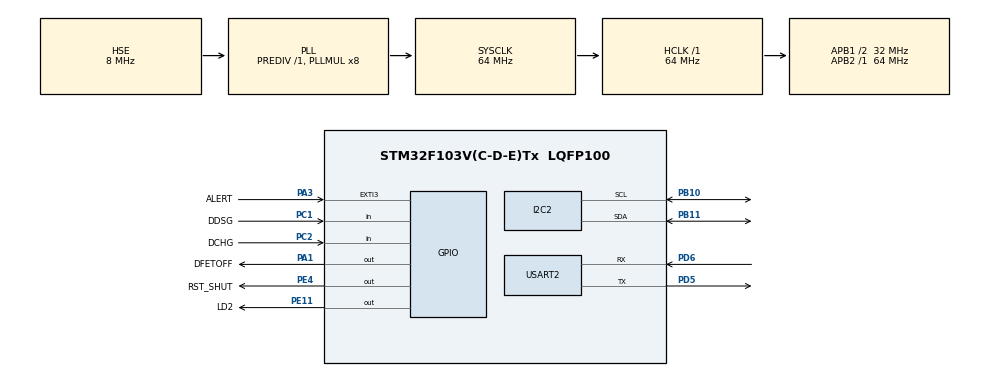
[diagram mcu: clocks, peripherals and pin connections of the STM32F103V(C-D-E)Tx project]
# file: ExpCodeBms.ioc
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I2C2.I2C_Mode=I2C_Standard
Mcu.Family=STM32F1
Mcu.Name=STM32F103V(C-D-E)Tx
Mcu.Package=LQFP100
NVIC.PriorityGroup=NVIC_PRIORITYGROUP_4
OSC_IN.Mode=HSE-External-Oscillator
OSC_IN.Signal=RCC_OSC_IN
OSC_OUT.Mode=HSE-External-Oscillator
OSC_OUT.Signal=RCC_OSC_OUT
PA1.GPIO_Label=DFETOFF
PA1.Signal=GPIO_Output
PA13.Mode=Serial_Wire
PA13.Signal=SYS_JTMS-SWDIO
PA14.Mode=Serial_Wire
PA14.Signal=SYS_JTCK-SWCLK
PA3.GPIO_Label=ALERT
PA3.Signal=GPXTI3
PB10.Mode=I2C
PB10.Signal=I2C2_SCL
PB11.Mode=I2C
PB11.Signal=I2C2_SDA
PC1.GPIO_Label=DDSG
PC1.Signal=GPIO_Input
PC2.GPIO_Label=DCHG
PC2.Signal=GPIO_Input
PD5.Mode=Asynchronous
PD5.Signal=USART2_TX
PD6.Mode=Asynchronous
PD6.Signal=USART2_RX
PE11.GPIO_Label=LD2
PE11.Signal=GPIO_Output
PE4.GPIO_Label=RST_SHUT
PE4.Signal=GPIO_Output
ProjectManager.HeapSize=0x200
ProjectManager.StackSize=0x400
ProjectManager.TargetToolchain=MDK-ARM V5.32
RCC.AHBFreq_Value=64000000
RCC.APB1CLKDivider=RCC_HCLK_DIV2
RCC.APB1Freq_Value=32000000
RCC.APB1TimFreq_Value=64000000
RCC.APB2Freq_Value=64000000
RCC.APB2TimFreq_Value=64000000
RCC.HCLKFreq_Value=64000000
RCC.PLLMUL=RCC_PLL_MUL8
RCC.PLLSourceVirtual=RCC_PLLSOURCE_HSE
RCC.SYSCLKFreq_VALUE=64000000
RCC.SYSCLKSource=RCC_SYSCLKSOURCE_PLLCLK
RCC.USBFreq_Value=64000000
TIM1.Prescaler=63
USART2.VirtualMode=VM_ASYNC
VP_TIM1_VS_ClockSourceINT.Mode=Internal
board=custom

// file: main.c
/* USER CODE BEGIN Header */
/**
  ******************************************************************************
  * @file           : main.c
  * @brief          : Main program body
  ******************************************************************************
  * @attention
  *
  * Copyright (c) 2025 STMicroelectronics.
  * All rights reserved.
  *
  * This software is licensed under terms that can be found in the LICENSE file
  * in the root directory of this software component.
  * If no LICENSE file comes with this software, it is provided AS-IS.
  *
  ******************************************************************************
  */
/* USER CODE END Header */
#include "main.h"

/* USER CODE BEGIN Includes */
#include <stdio.h>
#include "BQ769x2Header.h"
/* USER CODE END Includes */

/* USER CODE BEGIN PD */
#define DEV_ADDR        0x10  // BQ769x2 address is 0x10 including R/W bit or 0x8 as 7-bit address
#define CRC_Mode        1     // 0: disabled, 1: enabled (default use CRC)
#define MAX_BUFFER_SIZE 64

#define R   0 								// Read; Used in DirectCommands and Subcommands functions
#define W   1 								// Write; Used in DirectCommands and Subcommands functions
#define W2  2 								// Write data with two bytes; Used in Subcommands function

HAL_StatusTypeDef res;
/* USER CODE END PD */

I2C_HandleTypeDef hi2c2;

TIM_HandleTypeDef htim1;

UART_HandleTypeDef huart2;

/* USER CODE BEGIN PV */
uint8_t RX_data [2] 			= {0x00, 0x00}; // used in several functions to store data read from BQ769x2
uint8_t RX_2Byte [2] 			= {0x00, 0x00};
uint8_t RX_32Byte [32] 		= {0x00, 0x00, 0x00, 0x00, 0x00, 0x00, 0x00, 0x00, 0x00, 0x00, 0x00, 0x00, 0x00, 0x00, 0x00, 0x00, 0x00, 0x00, 0x00, 0x00, 0x00, 0x00, 0x00, 0x00, 0x00, 0x00, 0x00, 0x00, 0x00, 0x00, 0x00, 0x00}; //used in Subcommands read function
// Global Variables for cell voltages, temperatures, Stack voltage, PACK Pin voltage, LD Pin voltage, CC2 current
uint16_t CellVoltage [16] = {0x00, 0x00, 0x00, 0x00, 0x00, 0x00, 0x00, 0x00, 0x00, 0x00, 0x00, 0x00, 0x00, 0x00, 0x00, 0x00};
float Temperature [7] 		= {0, 0, 0, 0, 0, 0, 0};
float FET_Temperature 		= 0;
uint16_t CellVoltage[16];
float CellVoltage_V[16];
uint16_t Stack_mVoltage 	= 0x00;
float Stack_Voltage;
uint16_t Pack_Voltage 		= 0x00;
uint16_t LD_Voltage 			= 0x00;
int16_t Pack_Current 		  = 0x00;
float I_pack							= 0;
float sum_voltage 				= 0;
int index_check 					= 0;
uint16_t Fetstatus				= 0;
uint16_t current 					= 0x00;

uint16_t AlarmBits 				= 0x00;
uint16_t value_SafetyAlertA;  			// Safety Status Register A
uint16_t value_SafetyAlertB;  			// Safety Status Register B
uint16_t value_SafetyAlertC;  			// Safety Status Register C
uint16_t value_SafetyStatusA;  		  // Safety Status Register A
uint16_t value_SafetyStatusB;  		  // Safety Status Register B
uint16_t value_SafetyStatusC;  		  // Safety Status Register C
uint16_t value_PFStatusA;   				// Permanent Fail Status Register A
uint16_t value_PFStatusB;   				// Permanent Fail Status Register B
uint16_t value_PFStatusC;   				// Permanent Fail Status Register C
uint16_t FET_Status;  							// FET Status register contents  - Shows states of FETs
uint8_t value_FETOptions; 					// PreDischarge status
uint16_t CB_ActiveCells;  					// Cell Balancing Active Cells

uint16_t control_status     = 0;  	// 0x00 Control Status
uint16_t battery_status     = 0;  	// 0x12 Battery Status
uint16_t alarm_status_reg   = 0;  	// 0x62 Alarm Status (latched)
uint16_t alarm_raw_status   = 0;  	// 0x64 Alarm Raw Status (unlatched)
uint16_t alarm_enable_mask  = 0;  	// 0x66 Alarm Enable mask
uint16_t manufacturing_status = 0;

uint64_t OTP;
uint16_t OTP_Status;
uint8_t CFGUPDATE 	  = 0;
uint8_t PCHG_MODE 	  = 0;
uint8_t SLEEP_EN 		  = 0;
uint8_t POR 				  = 0;
uint8_t WD 				 	  = 0;
uint8_t COW_CHK 	    = 0;
uint8_t OTPW 				  = 0;
uint8_t OTPB 			 	  = 0;
uint8_t SEC0 				  = 0;
uint8_t SEC1 			 	  = 0;
uint8_t FUSE 				  = 0;
uint8_t SS 					  = 0;
uint8_t PF 					  = 0;
uint8_t SDM 				  = 0;
uint8_t SLEEP 			  = 0;   					// OTP write pending state

uint8_t	UV_Fault 		  = 0;   					// under-voltage fault state
uint8_t	OV_Fault 		  = 0;   					// over-voltage fault state
uint8_t	SCD_Fault	 	  = 0;  					// short-circuit fault state
uint8_t	OCD_Fault 	  = 0;  					// over-current fault state
uint8_t	OCD_Fault1 	  = 0;
uint8_t	OCC_Fault 	  = 0;

uint8_t	OTF_Fault 	  = 0;   					// under-voltage fault state
uint8_t	OTINT_Fault   = 0;   					// over-voltage fault state
uint8_t	OTD_Fault 	  = 0;  					// short-circuit fault state
uint8_t	OTC_Fault 	  = 0;  					// over-current fault state
uint8_t	UTINT_Fault   = 0;
uint8_t	UTD_Fault 	  = 0;
uint8_t	UTC_Fault 	  = 0;

uint8_t ProtectionsTriggered = 0; 		// Set to 1 if any protection triggers

uint8_t LD_ON 			  = 0;						// Load Detect status bit
uint8_t DSG 			 	  = 0;   					// discharge FET state
uint8_t CHG 				  = 0;   					// charge FET state
uint8_t PCHG 				  = 0;  					// pre-charge FET state
uint8_t PDSG 				  = 0;  					// pre-discharge FET state
uint8_t DCHG_pin 		  = 0;
uint8_t DDSG_pin 		  = 0;
uint8_t ALRT_pin 		  = 0;
uint8_t RSVD_pin 		  = 0;

uint8_t RSVD_00 			= 0;
uint8_t RSVD_01 			= 0;
uint8_t FET_INIT_OFF 	= 0;
uint8_t PDSG_EN 			= 0;
uint8_t FET_CTRL_EN 	= 0;
uint8_t HOST_FET_EN 	= 0;
uint8_t SLEEPCHG 			= 0;
uint8_t SFET 					= 0;

uint32_t CC1; 												// in BQ769x2_READPASSQ func
uint32_t CC2;													// in BQ769x2_READPASSQ func
uint32_t CC3;													// in BQ769x2_READPASSQ func
uint32_t AccumulatedCharge_Int; 			// in BQ769x2_READPASSQ func
uint32_t AccumulatedCharge_Frac;			// in BQ769x2_READPASSQ func
uint32_t AccumulatedCharge_Time;			// in BQ769x2_READPASSQ func
/* USER CODE END PV */

void SystemClock_Config(void);
static void MX_GPIO_Init(void);
static void MX_I2C2_Init(void);
static void MX_USART2_UART_Init(void);
static void MX_TIM1_Init(void);
/* USER CODE BEGIN PFP */

void delayUS(uint32_t us) {   										// Sets the delay in microseconds.
	__HAL_TIM_SET_COUNTER(&htim1,0);  							// set the counter value a 0
	while (__HAL_TIM_GET_COUNTER(&htim1) < us);  		// wait for the counter to reach the us input in the parameter
}

void CopyArray(uint8_t *source, uint8_t *dest, uint8_t count)
{
    uint8_t copyIndex = 0;
    for (copyIndex = 0; copyIndex < count; copyIndex++)
    {
        dest[copyIndex] = source[copyIndex];
    }
}

unsigned char Checksum(unsigned char *ptr, unsigned char len)
// Calculates the checksum when writing to a RAM register. The checksum is the inverse of the sum of the bytes.
{
	unsigned char i;
	unsigned char checksum = 0;

	for(i=0; i<len; i++)
		checksum += ptr[i];

	checksum = 0xff & ~checksum;

	return(checksum);
}

unsigned char CRC8(unsigned char *ptr, unsigned char len)
//Calculates CRC8 for passed bytes. Used in i2c read and write functions
{
	unsigned char i;
	unsigned char crc=0;
	while(len--!=0)
	{
		for(i=0x80; i!=0; i/=2)
		{
			if((crc & 0x80) != 0)
			{
				crc *= 2;
				crc ^= 0x107;
			}
			else
				crc *= 2;

			if((*ptr & i)!=0)
				crc ^= 0x107;
		}
		ptr++;
	}
	return(crc);
}

void I2C_WriteReg(uint8_t reg_addr, uint8_t *reg_data, uint8_t count)
{
	uint8_t TX_Buffer [MAX_BUFFER_SIZE] = {0x00, 0x00, 0x00, 0x00, 0x00, 0x00, 0x00, 0x00, 0x00, 0x00, 0x00, 0x00, 0x00, 0x00, 0x00, 0x00, 0x00, 0x00, 0x00, 0x00, 0x00, 0x00, 0x00, 0x00, 0x00, 0x00, 0x00, 0x00, 0x00, 0x00,0x00, 0x00, 0x00, 0x00, 0x00, 0x00, 0x00, 0x00, 0x00, 0x00, 0x00, 0x00, 0x00, 0x00, 0x00, 0x00, 0x00, 0x00, 0x00, 0x00,0x00, 0x00, 0x00, 0x00, 0x00, 0x00, 0x00, 0x00, 0x00, 0x00};
#if CRC_Mode
	{
		uint8_t crc_count = 0;
		crc_count = count * 2;
		uint8_t crc1stByteBuffer [3] = {0x10, reg_addr, reg_data[0]};
		unsigned int j;
		unsigned int i;
		uint8_t temp_crc_buffer [3];

		TX_Buffer[0] = reg_data[0];
		TX_Buffer[1] = CRC8(crc1stByteBuffer,3);

		j = 2;
		for(i=1; i<count; i++)
		{
			TX_Buffer[j] = reg_data[i];
			j = j + 1;
			temp_crc_buffer[0] = reg_data[i];
			TX_Buffer[j] = CRC8(temp_crc_buffer,1);
			j = j + 1;
		}
		HAL_I2C_Mem_Write(&hi2c2, DEV_ADDR, reg_addr, 1, TX_Buffer, crc_count, 1000);
	}
#else
	HAL_I2C_Mem_Write(&hi2c2, DEV_ADDR, reg_addr, 1, reg_data, count, 1000);
#endif
}

int I2C_ReadReg(uint8_t reg_addr, uint8_t *reg_data, uint8_t count)
{
	unsigned int RX_CRC_Fail = 0;  // reset to 0. If in CRC Mode and CRC fails, this will be incremented.
	uint8_t RX_Buffer [MAX_BUFFER_SIZE] = {0x00, 0x00, 0x00, 0x00, 0x00, 0x00, 0x00, 0x00, 0x00, 0x00, 0x00, 0x00, 0x00, 0x00, 0x00, 0x00, 0x00, 0x00, 0x00, 0x00, 0x00, 0x00, 0x00, 0x00, 0x00, 0x00, 0x00, 0x00, 0x00, 0x00, 0x00, 0x00, 0x00, 0x00, 0x00, 0x00, 0x00, 0x00, 0x00, 0x00, 0x00, 0x00, 0x00, 0x00, 0x00, 0x00, 0x00, 0x00, 0x00, 0x00, 0x00, 0x00, 0x00, 0x00, 0x00, 0x00, 0x00, 0x00, 0x00, 0x00};
#if CRC_Mode
	{
		uint8_t crc_count = 0;
		uint8_t ReceiveBuffer [10] = {0x00, 0x00, 0x00, 0x00, 0x00, 0x00, 0x00, 0x00, 0x00, 0x00};
		crc_count = count * 2;
		unsigned int j;
		unsigned int i;
		unsigned char CRCc = 0;
		uint8_t temp_crc_buffer [3];

		HAL_I2C_Mem_Read(&hi2c2, DEV_ADDR, reg_addr, 1, ReceiveBuffer, crc_count, 1000);
		uint8_t crc1stByteBuffer [4] = {0x10, reg_addr, 0x11, ReceiveBuffer[0]};
		CRCc = CRC8(crc1stByteBuffer,4);
		if (CRCc != ReceiveBuffer[1])
		{
			RX_CRC_Fail += 1;
		}
		RX_Buffer[0] = ReceiveBuffer[0];

		j = 2;
		for (i=1; i<count; i++)
		{
			RX_Buffer[i] = ReceiveBuffer[j];
			temp_crc_buffer[0] = ReceiveBuffer[j];
			j = j + 1;
			CRCc = CRC8(temp_crc_buffer,1);
			if (CRCc != ReceiveBuffer[j])
				RX_CRC_Fail += 1;
			j = j + 1;
		}
		CopyArray(RX_Buffer, reg_data, crc_count);
	}
#else
	HAL_I2C_Mem_Read(&hi2c2, DEV_ADDR, reg_addr, 1, reg_data, count, 1000);
#endif
	return 0;
}

void BQ769x2_SetRegister(uint16_t reg_addr, uint32_t reg_data, uint8_t datalen)
{
	uint8_t TX_Buffer[2] = {0x00, 0x00};
	uint8_t TX_RegData[6] = {0x00, 0x00, 0x00, 0x00, 0x00, 0x00};

	//TX_RegData in little endian format
	TX_RegData[0] = reg_addr & 0xff;
	TX_RegData[1] = (reg_addr >> 8) & 0xff;
	TX_RegData[2] = reg_data & 0xff; //1st byte of data

	switch(datalen)
    {
		case 1: //1 byte datalength
      I2C_WriteReg(0x3E, TX_RegData, 3);
			delayUS(2000);
			TX_Buffer[0] = Checksum(TX_RegData, 3);
			TX_Buffer[1] = 0x05; //combined length of register address and data
      I2C_WriteReg(0x60, TX_Buffer, 2); // Write the checksum and length
			delayUS(2000);
			break;
		case 2: //2 byte datalength
			TX_RegData[3] = (reg_data >> 8) & 0xff;
			I2C_WriteReg(0x3E, TX_RegData, 4);
			delayUS(2000);
			TX_Buffer[0] = Checksum(TX_RegData, 4);
			TX_Buffer[1] = 0x06; //combined length of register address and data
      I2C_WriteReg(0x60, TX_Buffer, 2); // Write the checksum and length
			delayUS(2000);
			break;
		case 4: //4 byte datalength, Only used for CCGain and Capacity Gain
			TX_RegData[3] = (reg_data >> 8) & 0xff;
			TX_RegData[4] = (reg_data >> 16) & 0xff;
			TX_RegData[5] = (reg_data >> 24) & 0xff;
			I2C_WriteReg(0x3E, TX_RegData, 6);
			delayUS(2000);
			TX_Buffer[0] = Checksum(TX_RegData, 6);
			TX_Buffer[1] = 0x08; //combined length of register address and data
      I2C_WriteReg(0x60, TX_Buffer, 2); // Write the checksum and length
			delayUS(2000);
			break;
    }
}

static uint8_t DM_Read8(uint16_t addr) {
  uint8_t tx[2] = { addr & 0xFF, (uint8_t)(addr >> 8) };
  I2C_WriteReg(0x3E, tx, 2);
  delayUS(2000);
  uint8_t v = 0;
  I2C_ReadReg(0x40, &v, 1);   // read 1 byte from Data Memory
  return v;
}

void CommandSubcommands(uint16_t command) //For Command only Subcommands
// See the TRM or the BQ76952 header file for a full list of Command-only subcommands
{	//For DEEPSLEEP/SHUTDOWN subcommand you will need to call this function twice consecutively

	uint8_t TX_Reg[2] = {0x00, 0x00};

	//TX_Reg in little endian format
	TX_Reg[0] = command & 0xff;
	TX_Reg[1] = (command >> 8) & 0xff;

	I2C_WriteReg(0x3E,TX_Reg,2);
	delayUS(2000);
}

void Subcommands(uint16_t command, uint16_t data, uint8_t type)
// See the TRM or the BQ76952 header file for a full list of Subcommands
{
	//security keys and Manu_data writes dont work with this function (reading these commands works)
	//max readback size is 32 bytes i.e. DASTATUS, CUV/COV snapshot
	uint8_t TX_Reg[4] = {0x00, 0x00, 0x00, 0x00};
	uint8_t TX_Buffer[2] = {0x00, 0x00};

	//TX_Reg in little endian format
	TX_Reg[0] = command & 0xff;
	TX_Reg[1] = (command >> 8) & 0xff;

	if (type == R) {//read
		I2C_WriteReg(0x3E,TX_Reg,2);
		delayUS(2000);
		I2C_ReadReg(0x40, RX_32Byte, 32); //RX_32Byte is a global variable
	}
	else if (type == W) {
		//FET_Control, REG12_Control
		TX_Reg[2] = data & 0xff;
		I2C_WriteReg(0x3E,TX_Reg,3);
		delayUS(1000);
		TX_Buffer[0] = Checksum(TX_Reg, 3);
		TX_Buffer[1] = 0x05; //combined length of registers address and data
		I2C_WriteReg(0x60, TX_Buffer, 2);
		delayUS(1000);
	}
	else if (type == W2){ //write data with 2 bytes
		//CB_Active_Cells, CB_SET_LVL
		TX_Reg[2] = data & 0xff;
		TX_Reg[3] = (data >> 8) & 0xff;
		I2C_WriteReg(0x3E,TX_Reg,4);
		delayUS(1000);
		TX_Buffer[0] = Checksum(TX_Reg, 4);
		TX_Buffer[1] = 0x06; //combined length of registers address and data
		I2C_WriteReg(0x60, TX_Buffer, 2);
		delayUS(1000);
	}
}

void DirectCommands(uint8_t command, uint16_t data, uint8_t type)
// See the TRM or the BQ76952 header file for a full list of Direct Commands
{	//type: R = read, W = write
	uint8_t TX_data[2] = {0x00, 0x00};

	//little endian format
	TX_data[0] = data & 0xff;
	TX_data[1] = (data >> 8) & 0xff;

	if (type == R) {//Read
		I2C_ReadReg(command, RX_data, 2); //RX_data is a global variable
		delayUS(2000);
	}
	if (type == W) {//write
    //Control_status, alarm_status, alarm_enable all 2 bytes long
		I2C_WriteReg(command,TX_data,2);
		delayUS(2000);
	}
}

void BQ769x2_Init() {
	CommandSubcommands(SET_CFGUPDATE);

	// Calibration
	BQ769x2_SetRegister(Cell1Gain, 12120, 2);
	BQ769x2_SetRegister(Cell2Gain, 12120, 2);
	BQ769x2_SetRegister(Cell3Gain, 12120, 2);
	BQ769x2_SetRegister(Cell4Gain, 12120, 2);
	BQ769x2_SetRegister(Cell5Gain, 12119, 2);
	BQ769x2_SetRegister(Cell6Gain, 12119, 2);
	BQ769x2_SetRegister(Cell7Gain, 12119, 2);
	BQ769x2_SetRegister(Cell8Gain, 12119, 2);
	BQ769x2_SetRegister(Cell9Gain, 12122, 2);
	BQ769x2_SetRegister(Cell10Gain, 12122, 2);
	BQ769x2_SetRegister(Cell11Gain, 12122, 2);
	BQ769x2_SetRegister(Cell12Gain, 12122, 2);
	BQ769x2_SetRegister(Cell13Gain, 12121, 2);
	BQ769x2_SetRegister(Cell14Gain, 12121, 2);
	BQ769x2_SetRegister(Cell15Gain, 12121, 2);
	BQ769x2_SetRegister(Cell16Gain, 12121, 2);

	BQ769x2_SetRegister(PackGain, 34067, 2);
	BQ769x2_SetRegister(TOSGain, 33961, 2);
	BQ769x2_SetRegister(LDGain, 34268, 2);
	BQ769x2_SetRegister(ADCGain, 4039, 2);
	BQ769x2_SetRegister(CCGain, 1.000, 4);
	BQ769x2_SetRegister(CapacityGain, 1.000, 4);
	BQ769x2_SetRegister(VcellOffset, 0, 2);
	BQ769x2_SetRegister(VdivOffset, 0, 2);
	BQ769x2_SetRegister(CoulombCounterOffsetSamples, 64, 2);
	BQ769x2_SetRegister(BoardOffset, 0, 2);

	BQ769x2_SetRegister(InternalTempOffset, 0.0, 1);
	BQ769x2_SetRegister(CFETOFFTempOffset, 0.0, 1);
	BQ769x2_SetRegister(DFETOFFTempOffset, 0.0, 1);
	BQ769x2_SetRegister(ALERTTempOffset, 0.0, 1);
	BQ769x2_SetRegister(TS1TempOffset, 0.0, 1);
	BQ769x2_SetRegister(TS2TempOffset, 0.0, 1);
	BQ769x2_SetRegister(TS3TempOffset, 0.0, 1);
	BQ769x2_SetRegister(HDQTempOffset, 0.0, 1);
	BQ769x2_SetRegister(DCHGTempOffset, 0.0, 1);
	BQ769x2_SetRegister(DDSGTempOffset, 0.0, 1);
	BQ769x2_SetRegister(IntGain, 25390, 2);
	BQ769x2_SetRegister(Intbaseoffset, 3032, 2);
	BQ769x2_SetRegister(IntMaximumAD, 16383, 2);
	BQ769x2_SetRegister(IntMaximumTemp, 6379, 2);

	BQ769x2_SetRegister(T18kCoeffa1, (uint16_t)-15524, 2);
	BQ769x2_SetRegister(T18kCoeffa2, 26423, 2);
	BQ769x2_SetRegister(T18kCoeffa3, (uint16_t)-22664, 2);
	BQ769x2_SetRegister(T18kCoeffa4, 28834, 2);
	BQ769x2_SetRegister(T18kCoeffa5, 672, 2);
	BQ769x2_SetRegister(T18kCoeffb1, (uint16_t)-371, 2);
	BQ769x2_SetRegister(T18kCoeffb2, 708, 2);
	BQ769x2_SetRegister(T18kCoeffb3, (uint16_t)-3498, 2);
	BQ769x2_SetRegister(T18kCoeffb4, 5051, 2);
	BQ769x2_SetRegister(T18kAdc0, 11703, 2);

	BQ769x2_SetRegister(T180kCoeffa1, (uint16_t)-17513, 2);
	BQ769x2_SetRegister(T180kCoeffa2, 25759, 2);
	BQ769x2_SetRegister(T180kCoeffa3, (uint16_t)-23593, 2);
	BQ769x2_SetRegister(T180kCoeffa4, 32175, 2);
	BQ769x2_SetRegister(T180kCoeffa5, 2090, 2);
	BQ769x2_SetRegister(T180kCoeffb1, (uint16_t)-2055, 2);
	BQ769x2_SetRegister(T180kCoeffb2, 2955, 2);
	BQ769x2_SetRegister(T180kCoeffb3, (uint16_t)-3427, 2);
	BQ769x2_SetRegister(T180kCoeffb4, 4385, 2);
	BQ769x2_SetRegister(T180kAdc0, 17246, 2);

	BQ769x2_SetRegister(CustomCoeffa1, 0x00, 2);
	BQ769x2_SetRegister(CustomCoeffa2, 0x00, 2);
	BQ769x2_SetRegister(CustomCoeffa3, 0x00, 2);
	BQ769x2_SetRegister(CustomCoeffa4, 0x00, 2);
	BQ769x2_SetRegister(CustomCoeffa5, 0x00, 2);
	BQ769x2_SetRegister(CustomCoeffb1, 0x00, 2);
	BQ769x2_SetRegister(CustomCoeffb2, 0x00, 2);
	BQ769x2_SetRegister(CustomCoeffb3, 0x00, 2);
	BQ769x2_SetRegister(CustomCoeffb4, 0x00, 2);
	BQ769x2_SetRegister(CustomRc0, 0x00, 2);
	BQ769x2_SetRegister(CustomAdc0, 0x00, 2);

	BQ769x2_SetRegister(CoulombCounterDeadband, 9, 1);
	BQ769x2_SetRegister(CUVThresholdOverride, 0xFFFF, 2);
	BQ769x2_SetRegister(COVThresholdOverride, 0xFFFF, 2);
	BQ769x2_SetRegister(MinBlowFuseVoltage, 500, 2);
	BQ769x2_SetRegister(FuseBlowTimeout, 30, 1);

	BQ769x2_SetRegister(PowerConfig, 0x2C82, 2);
	BQ769x2_SetRegister(REG12Config, 0x0D, 1);
	BQ769x2_SetRegister(REG0Config, 0x01, 1);
	BQ769x2_SetRegister(HWDRegulatorOptions, 0x00, 1);
	BQ769x2_SetRegister(CommType, 0, 1);
	BQ769x2_SetRegister(I2CAddress, 0, 1);
	BQ769x2_SetRegister(SPIConfiguration, 0x20, 1);
	BQ769x2_SetRegister(CommIdleTime, 0, 1);
	BQ769x2_SetRegister(CFETOFFPinConfig, 0xAF, 1);
	BQ769x2_SetRegister(DFETOFFPinConfig, 0xEE, 1);
	BQ769x2_SetRegister(ALERTPinConfig, 0x3A, 1);
	BQ769x2_SetRegister(TS1Config, 0x07, 1);
	BQ769x2_SetRegister(TS2Config, 0x0F, 1);
	BQ769x2_SetRegister(TS3Config, 0x0F, 1);
	BQ769x2_SetRegister(HDQPinConfig, 0x2B, 1);
	BQ769x2_SetRegister(DCHGPinConfig, 0x2A, 1);
	BQ769x2_SetRegister(DDSGPinConfig, 0x2A, 1);
	BQ769x2_SetRegister(DAConfiguration, 0x05, 1);
	BQ769x2_SetRegister(VCellMode, 0x0000, 2);
	BQ769x2_SetRegister(CC3Samples, 80, 1);
	BQ769x2_SetRegister(ProtectionConfiguration, 0x0000, 2); //0x0002
	BQ769x2_SetRegister(EnabledProtectionsA, 0x00, 1);			 //0xFC
	BQ769x2_SetRegister(EnabledProtectionsB, 0x00, 1);
	BQ769x2_SetRegister(EnabledProtectionsC, 0x00, 1);
	BQ769x2_SetRegister(CHGFETProtectionsA, 0x98, 1);
	BQ769x2_SetRegister(CHGFETProtectionsB, 0xD5, 1);
	BQ769x2_SetRegister(CHGFETProtectionsC, 0x56, 1);
	BQ769x2_SetRegister(DSGFETProtectionsA, 0xE4, 1);
	BQ769x2_SetRegister(DSGFETProtectionsB, 0xE6, 1);
	BQ769x2_SetRegister(DSGFETProtectionsC, 0xE2, 1);
	BQ769x2_SetRegister(BodyDiodeThreshold, 50, 2);

	BQ769x2_SetRegister(DefaultAlarmMask, 0xF882, 2);
	BQ769x2_SetRegister(SFAlertMaskA, 0xFC, 1);
	BQ769x2_SetRegister(SFAlertMaskB, 0xF7, 1);
	BQ769x2_SetRegister(SFAlertMaskC, 0xF4, 1);
	BQ769x2_SetRegister(PFAlertMaskA, 0x5F, 1);
	BQ769x2_SetRegister(PFAlertMaskB, 0x9F, 1);
	BQ769x2_SetRegister(PFAlertMaskC, 0x00, 1);
	BQ769x2_SetRegister(PFAlertMaskD, 0x00, 1);
	BQ769x2_SetRegister(EnabledPFA, 0x03, 1);
	BQ769x2_SetRegister(EnabledPFB, 0x00, 1);
	BQ769x2_SetRegister(EnabledPFC, 0x07, 1);
	BQ769x2_SetRegister(EnabledPFD, 0x00, 1);

	BQ769x2_SetRegister(FETOptions, 0x0F, 1);
	BQ769x2_SetRegister(ChgPumpControl, 0x01, 1);
	BQ769x2_SetRegister(PrechargeStartVoltage, 0, 2);
	BQ769x2_SetRegister(PrechargeStopVoltage, 0, 2);
	BQ769x2_SetRegister(PredischargeTimeout, 5, 1);
	BQ769x2_SetRegister(PredischargeStopDelta, 50, 1);
	BQ769x2_SetRegister(DsgCurrentThreshold, 100, 2);
	BQ769x2_SetRegister(ChgCurrentThreshold, 50, 2);
	BQ769x2_SetRegister(CheckTime, 5, 1);

	BQ769x2_SetRegister(Cell1Interconnect, 0, 2);
	BQ769x2_SetRegister(Cell2Interconnect, 0, 2);
	BQ769x2_SetRegister(Cell3Interconnect, 0, 2);
	BQ769x2_SetRegister(Cell4Interconnect, 0, 2);
	BQ769x2_SetRegister(Cell5Interconnect, 0, 2);
	BQ769x2_SetRegister(Cell6Interconnect, 0, 2);
	BQ769x2_SetRegister(Cell7Interconnect, 0, 2);
	BQ769x2_SetRegister(Cell8Interconnect, 0, 2);
	BQ769x2_SetRegister(Cell9Interconnect, 0, 2);
	BQ769x2_SetRegister(Cell10Interconnect, 0, 2);
	BQ769x2_SetRegister(Cell11Interconnect, 0, 2);
	BQ769x2_SetRegister(Cell12Interconnect, 0, 2);
	BQ769x2_SetRegister(Cell13Interconnect, 0, 2);
	BQ769x2_SetRegister(Cell14Interconnect, 0, 2);
	BQ769x2_SetRegister(Cell15Interconnect, 0, 2);
	BQ769x2_SetRegister(Cell16Interconnect, 0, 2);

	BQ769x2_SetRegister(MfgStatusInit, 0x0050, 2);
	BQ769x2_SetRegister(BalancingConfiguration, 0x03, 1);
	BQ769x2_SetRegister(MinCellTemp, (uint8_t)-20, 1);   		// -20°C
	BQ769x2_SetRegister(MaxCellTemp, 60, 1);   		// 60°C
	BQ769x2_SetRegister(MaxInternalTemp, 70, 1); 	// 70°C
	BQ769x2_SetRegister(CellBalanceInterval, 20, 1);
	BQ769x2_SetRegister(CellBalanceMaxCells, 1, 1);
	BQ769x2_SetRegister(CellBalanceMinCellVCharge, 3900, 2);
	BQ769x2_SetRegister(CellBalanceMinDeltaCharge, 40, 1);
	BQ769x2_SetRegister(CellBalanceStopDeltaCharge, 20, 1);
	BQ769x2_SetRegister(CellBalanceMinCellVRelax, 3900, 2);
	BQ769x2_SetRegister(CellBalanceMinDeltaRelax, 40, 1);
	BQ769x2_SetRegister(CellBalanceStopDeltaRelax, 20, 1);

	BQ769x2_SetRegister(ShutdownCellVoltage, 0, 2);
	BQ769x2_SetRegister(ShutdownStackVoltage, 600, 2);
	BQ769x2_SetRegister(LowVShutdownDelay, 1, 1);
	BQ769x2_SetRegister(ShutdownTemperature, 85, 1);
	BQ769x2_SetRegister(ShutdownTemperatureDelay, 5, 1);
	BQ769x2_SetRegister(FETOffDelay, 0, 1);
	BQ769x2_SetRegister(ShutdownCommandDelay, 0, 1);
	BQ769x2_SetRegister(AutoShutdownTime, 0, 1);
	BQ769x2_SetRegister(RAMFailShutdownTime, 5, 1);
	BQ769x2_SetRegister(SleepCurrent, 20, 2);
	BQ769x2_SetRegister(VoltageTime, 5, 1);
	BQ769x2_SetRegister(WakeComparatorCurrent, 500, 2);
	BQ769x2_SetRegister(SleepHysteresisTime, 10, 1);
	BQ769x2_SetRegister(SleepChargerVoltageThreshold, 2000, 2);
	BQ769x2_SetRegister(SleepChargerPACKTOSDelta, 200, 2);
	BQ769x2_SetRegister(ConfigRAMSignature, 0, 2);

	BQ769x2_SetRegister(CUVThreshold, 50, 1);
 	BQ769x2_SetRegister(CUVDelay, 74, 2);
 	BQ769x2_SetRegister(CUVRecoveryHysteresis, 2, 1);

	BQ769x2_SetRegister(COVThreshold, 86, 1);
	BQ769x2_SetRegister(COVDelay, 74, 2);
	BQ769x2_SetRegister(COVRecoveryHysteresis, 2, 1);

	BQ769x2_SetRegister(COVLLatchLimit, 0, 1);
	BQ769x2_SetRegister(COVLCounterDecDelay, 10, 1);
	BQ769x2_SetRegister(COVLRecoveryTime, 15, 1);

	BQ769x2_SetRegister(OCCThreshold, 2, 1);
	BQ769x2_SetRegister(OCCDelay, 4, 1);
	BQ769x2_SetRegister(OCCRecoveryThreshold, (uint16_t)-200, 2);
	BQ769x2_SetRegister(OCCPACKTOSDelta, 200, 2);

	BQ769x2_SetRegister(OCD1Threshold, 4, 1);
	BQ769x2_SetRegister(OCD1Delay, 1, 1);
	BQ769x2_SetRegister(OCD2Threshold, 3, 1);
	BQ769x2_SetRegister(OCD2Delay, 7, 1);

	BQ769x2_SetRegister(SCDThreshold, 0, 1);
	BQ769x2_SetRegister(SCDDelay, 2, 1);
	BQ769x2_SetRegister(SCDRecoveryTime, 5, 1);

	BQ769x2_SetRegister(OCD3Threshold, (uint16_t)-4000, 2);
	BQ769x2_SetRegister(OCD3Delay, 2, 1);
	BQ769x2_SetRegister(OCDRecoveryThreshold, 200, 2);
	BQ769x2_SetRegister(OCDLLatchLimit, 0, 1);
	BQ769x2_SetRegister(OCDLCounterDecDelay, 10, 1);
	BQ769x2_SetRegister(OCDLRecoveryTime, 15, 1);
	BQ769x2_SetRegister(OCDLRecoveryThreshold, 200, 2);

	BQ769x2_SetRegister(SCDLLatchLimit, 0, 1);
	BQ769x2_SetRegister(SCDLCounterDecDelay, 10, 1);
	BQ769x2_SetRegister(SCDLRecoveryTime, 15, 1);
	BQ769x2_SetRegister(SCDLRecoveryThreshold, 200, 2);

	BQ769x2_SetRegister(OTCThreshold, 55, 1);
	BQ769x2_SetRegister(OTCDelay, 2, 1);
	BQ769x2_SetRegister(OTCRecovery, 50, 1);

	BQ769x2_SetRegister(OTDThreshold, 60, 1);
	BQ769x2_SetRegister(OTDDelay, 2, 1);
	BQ769x2_SetRegister(OTDRecovery, 55, 1);

	BQ769x2_SetRegister(OTFThreshold, 80, 1);
	BQ769x2_SetRegister(OTFDelay, 2, 1);
	BQ769x2_SetRegister(OTFRecovery, 65, 1);

	BQ769x2_SetRegister(OTINTThreshold, 85, 1);
	BQ769x2_SetRegister(OTINTDelay, 2, 1);
	BQ769x2_SetRegister(OTINTRecovery, 80, 1);

	BQ769x2_SetRegister(UTCThreshold, 0, 1);
	BQ769x2_SetRegister(UTCDelay, 2, 1);
	BQ769x2_SetRegister(UTCRecovery, 5, 1);

	BQ769x2_SetRegister(UTDThreshold, 0, 1);
	BQ769x2_SetRegister(UTDDelay, 2, 1);
	BQ769x2_SetRegister(UTDRecovery, 5, 1);

	BQ769x2_SetRegister(UTINTThreshold, (uint8_t)-20, 1);
	BQ769x2_SetRegister(UTINTDelay, 2, 1);
	BQ769x2_SetRegister(UTINTRecovery, (uint8_t)-15, 1);

	BQ769x2_SetRegister(ProtectionsRecoveryTime, 3, 1);
	BQ769x2_SetRegister(HWDDelay, 60, 2);

	BQ769x2_SetRegister(LoadDetectActiveTime, 0, 1);
	BQ769x2_SetRegister(LoadDetectRetryDelay, 50, 1);
	BQ769x2_SetRegister(LoadDetectTimeout, 1, 2);

	BQ769x2_SetRegister(PTOChargeThreshold, 250, 2);
	BQ769x2_SetRegister(PTODelay, 1800, 2);
	BQ769x2_SetRegister(PTOReset, 2, 2);

	BQ769x2_SetRegister(CUDEPThreshold, 1500, 2);
	BQ769x2_SetRegister(CUDEPDelay, 2, 1);
	BQ769x2_SetRegister(SUVThreshold, 2200, 2);
	BQ769x2_SetRegister(SUVDelay, 5, 1);
	BQ769x2_SetRegister(SOVThreshold, 4500, 2);
	BQ769x2_SetRegister(SOVDelay, 5, 1);
	BQ769x2_SetRegister(TOSSThreshold, 500, 2);
	BQ769x2_SetRegister(TOSSDelay, 5, 1);
	BQ769x2_SetRegister(SOCCThreshold, 10000, 2);
	BQ769x2_SetRegister(SOCCDelay, 5, 1);
	BQ769x2_SetRegister(SOCDThreshold, (uint16_t)-32000, 2);
	BQ769x2_SetRegister(SOCDDelay, 5, 1);
	BQ769x2_SetRegister(SOTThreshold, 65, 1);
	BQ769x2_SetRegister(SOTDelay, 5, 1);
	BQ769x2_SetRegister(SOTFThreshold, 85, 1);
	BQ769x2_SetRegister(SOTFDelay, 5, 1);
	BQ769x2_SetRegister(VIMRCheckVoltage, 3500, 2);
	BQ769x2_SetRegister(VIMRMaxRelaxCurrent, 10, 2);
	BQ769x2_SetRegister(VIMRThreshold, 500, 2);
	BQ769x2_SetRegister(VIMRDelay, 5, 1);
	BQ769x2_SetRegister(VIMRRelaxMinDuration, 100, 2);
	BQ769x2_SetRegister(VIMACheckVoltage, 3700, 2);
	BQ769x2_SetRegister(VIMAMinActiveCurrent, 50, 2);
	BQ769x2_SetRegister(VIMAThreshold, 200, 2);
	BQ769x2_SetRegister(VIMADelay, 5, 1);
	BQ769x2_SetRegister(CFETFOFFThreshold, 20, 2);
	BQ769x2_SetRegister(CFETFOFFDelay, 5, 1);
	BQ769x2_SetRegister(DFETFOFFThreshold, (uint16_t)-20, 2);
	BQ769x2_SetRegister(DFETFOFFDelay, 5, 1);
	BQ769x2_SetRegister(VSSFFailThreshold, 100, 2);
	BQ769x2_SetRegister(VSSFDelay, 5, 1);
	BQ769x2_SetRegister(PF2LVLDelay, 5, 1);
	BQ769x2_SetRegister(LFOFDelay, 5, 1);
	BQ769x2_SetRegister(HWMXDelay, 5, 1);

	BQ769x2_SetRegister(SecuritySettings, 0x00, 1);
	BQ769x2_SetRegister(UnsealKeyStep1, 0x0414, 2);
	BQ769x2_SetRegister(UnsealKeyStep2, 0x3672, 2);
	BQ769x2_SetRegister(FullAccessKeyStep1, 0xFFFF, 2);
	BQ769x2_SetRegister(FullAccessKeyStep2, 0xFFFF, 2);

	CommandSubcommands(EXIT_CFGUPDATE);
}

//  ********************************* FET Control Commands  ***************************************

void BQ769x2_BOTHOFF () {
	// Disables all FETs using the DFETOFF (BOTHOFF) pin
	// The DFETOFF pin on the BQ76952EVM should be connected to the MCU board to use this function
	HAL_GPIO_WritePin(GPIOA, DFETOFF_Pin, GPIO_PIN_SET);  // DFETOFF pin (BOTHOFF) set high
}

void BQ769x2_RESET_BOTHOFF () {
	// Resets DFETOFF (BOTHOFF) pin
	// The DFETOFF pin on the BQ76952EVM should be connected to the MCU board to use this function
	HAL_GPIO_WritePin(GPIOA, DFETOFF_Pin, GPIO_PIN_RESET);  // DFETOFF pin (BOTHOFF) set low
}

void BQ769x2_ReadFETStatus() {
  DirectCommands(FETStatus, 0x00, R);
  FET_Status = (RX_data[1]*256 + RX_data[0]);
  CHG   		 = (RX_data[0] & 0x01) >> 0;
  PCHG  		 = (RX_data[0] & 0x02) >> 1;
  DSG   		 = (RX_data[0] & 0x04) >> 2;
  PDSG  		 = (RX_data[0] & 0x08) >> 3;
  DCHG_pin 	 = (RX_data[0] & 0x10) >> 4;
  DDSG_pin 	 = (RX_data[0] & 0x20) >> 5;
  ALRT_pin 	 = (RX_data[0] & 0x40) >> 6;
  RSVD_pin 	 = (RX_data[0] & 0x80) >> 7;
}

// ********************************* End of FET Control Commands *********************************

// ********************************* BQ769x2 Power Commands   *****************************************

void BQ769x2_ShutdownPin() {
	// Puts the device into SHUTDOWN mode using the RST_SHUT pin
	// The RST_SHUT pin on the BQ76952EVM should be connected to the MCU board to use this function
	HAL_GPIO_WritePin(GPIOE, RST_SHUT_Pin, GPIO_PIN_SET);  // Sets RST_SHUT pin
}

void BQ769x2_ReleaseShutdownPin() {
	// Releases the RST_SHUT pin
	// The RST_SHUT pin on the BQ76952EVM should be connected to the MCU board to use this function
	HAL_GPIO_WritePin(GPIOE, RST_SHUT_Pin, GPIO_PIN_RESET);  // Resets RST_SHUT pin
}

// ********************************* End of BQ769x2 Power Commands   *****************************************

// ********************************* BQ769x2 Status and Fault Commands   *****************************************

uint16_t BQ769x2_ReadAlarmStatus() {
	// Read this register to find out why the ALERT pin was asserted
	DirectCommands(AlarmStatus, 0x00, R);
	return (RX_data[1]*256 + RX_data[0]);
}

void BQ769x2_ReadSafetyStatus() { //good example functions
	// Read Safety Status A/B/C and find which bits are set
	// This shows which primary protections have been triggered
	DirectCommands(SafetyAlertA, 0x00, R);
	value_SafetyAlertA = (RX_data[1]*256 + RX_data[0]);
	DirectCommands(SafetyAlertB, 0x00, R);
	value_SafetyAlertB = (RX_data[1]*256 + RX_data[0]);
	DirectCommands(SafetyAlertC, 0x00, R);
	value_SafetyAlertC = (RX_data[1]*256 + RX_data[0]);

	DirectCommands(SafetyStatusA, 0x00, R);
	value_SafetyStatusA = (RX_data[1]*256 + RX_data[0]);
	//Example Fault Flags
	UV_Fault 		= ((0x04 & RX_data[0])>>2);
	OV_Fault 		= ((0x08 & RX_data[0])>>3);
	OCC_Fault 	= ((0x10 & RX_data[0])>>4);
	OCD_Fault1 	= ((0x20 & RX_data[0])>>5);
	OCD_Fault 	= ((0x40 & RX_data[0])>>6);
	SCD_Fault 	= ((0x80 & RX_data[0])>>7);

	DirectCommands(SafetyStatusB, 0x00, R);
	value_SafetyStatusB = (RX_data[1]*256 + RX_data[0]);
//	OTC_Fault 	= ((0x10 & RX_data[0])>>4);
//	OTD_Fault 	= ((0x20 & RX_data[0])>>5);
//	OTINT_Fault = ((0x40 & RX_data[0])>>6);
//	OTF_Fault 	= ((0x80 & RX_data[0])>>7);

	DirectCommands(SafetyStatusC, 0x00, R);
	value_SafetyStatusC = (RX_data[1]*256 + RX_data[0]);
	if ((value_SafetyStatusA + value_SafetyStatusB + value_SafetyStatusC) > 1) {
		ProtectionsTriggered = 1; }
	else {
		ProtectionsTriggered = 0; }
}

void statusread() {
  value_FETOptions = DM_Read8(FETOptions);

  SFET        =  (value_FETOptions & 0x01) >> 0;
  SLEEPCHG    =  (value_FETOptions & 0x02) >> 1;
  HOST_FET_EN =  (value_FETOptions & 0x04) >> 2;
  FET_CTRL_EN =  (value_FETOptions & 0x08) >> 3;
  PDSG_EN     =  (value_FETOptions & 0x10) >> 4;
  FET_INIT_OFF=  (value_FETOptions & 0x20) >> 5;
  RSVD_01     =  (value_FETOptions & 0x40) >> 6;
  RSVD_00     =  (value_FETOptions & 0x80) >> 7;
}

void BQ769x2_ReadPFStatus() {
	// Read Permanent Fail Status A/B/C and find which bits are set
	// This shows which permanent failures have been triggered
	DirectCommands(PFStatusA, 0x00, R);
	value_PFStatusA = (RX_data[1]*256 + RX_data[0]);
	DirectCommands(PFStatusB, 0x00, R);
	value_PFStatusB = (RX_data[1]*256 + RX_data[0]);
	DirectCommands(PFStatusC, 0x00, R);
	value_PFStatusC = (RX_data[1]*256 + RX_data[0]);
}

uint16_t BQ769x2_ReadControlStatus(void)
{
    DirectCommands(ControlStatus, 0x00, R);
    return (RX_data[1]*256 + RX_data[0]);
}

uint16_t BQ769x2_ReadBatteryStatus(void)
{
    DirectCommands(BatteryStatus, 0x00, R);
    return (RX_data[1]*256 + RX_data[0]);
}

uint16_t BQ769x2_ReadAlarmStatusReg(void)
{
    DirectCommands(AlarmStatus, 0x00, R);
    return (RX_data[1]*256 + RX_data[0]);
}

uint16_t BQ769x2_ReadAlarmRawStatus(void)
{
    DirectCommands(AlarmRawStatus, 0x00, R);
    return (RX_data[1]*256 + RX_data[0]);
}

uint16_t BQ769x2_ReadAlarmEnable(void)
{
    DirectCommands(AlarmEnable, 0x00, R);
    return (RX_data[1]*256 + RX_data[0]);
}

uint16_t BQ769x2_ReadManufacturingStatus(void)
{
    Subcommands(MANUFACTURINGSTATUS, 0x00, R);
    return (uint16_t)((RX_32Byte[1] << 8) | RX_32Byte[0]);
}

// ********************************* End of BQ769x2 Status and Fault Commands   *****************************************

// ********************************* BQ769x2 Measurement Commands   *****************************************

uint16_t BQ769x2_ReadVoltage(uint8_t command)
// This function can be used to read a specific cell voltage or stack / pack / LD voltage
{
	//RX_data is global var
	DirectCommands(command, 0x00, R);
	if(command >= Cell1Voltage && command <= Cell16Voltage) {//Cells 1 through 16 (0x14 to 0x32)
		return (RX_data[1]*256 + RX_data[0]); //voltage is reported in mV
	}
	else {//stack, Pack, LD
		return 10 * (RX_data[1]*256 + RX_data[0]); //voltage is reported in 0.01V units
	}

}
void BQ769x2_ReadAllVoltages()
// Reads all cell voltages, Stack voltage, PACK pin voltage, and LD pin voltage
{
	int cellvoltageholder = Cell1Voltage; //Cell1Voltage is 0x14
	for (int i = 0; i < 16; i++) {//Reads all cell voltages
	CellVoltage[i] = BQ769x2_ReadVoltage(cellvoltageholder);
	cellvoltageholder = cellvoltageholder + 2;
	index_check = i;
	}
	sum_voltage = 0;
	for (int i = 0; i <16; i++) {
	sum_voltage +=CellVoltage[i];
	}
  Stack_Voltage = BQ769x2_ReadVoltage(StackVoltage);
  Pack_Voltage = BQ769x2_ReadVoltage(PACKPinVoltage);
  LD_Voltage = BQ769x2_ReadVoltage(LDPinVoltage);
}

uint16_t BQ769x2_ReadCurrent()
// Reads PACK current
{
	DirectCommands(CC2Current, 0x00, R);
	return (RX_data[1]*256 + RX_data[0]);  // current is reported in mA
}

uint16_t AFE_ReadCurrent() {
	I2C_ReadReg(0x3A, RX_2Byte, 2);
	return (RX_2Byte[1]*256 + RX_2Byte[0]);  // current is reported in mA
}

float BQ769x2_ReadTemperature(uint8_t command)
{
	DirectCommands(command, 0x00, R);
	//RX_data is a global var
	return (0.1 * (float)(RX_data[1]*256 + RX_data[0])) - 273.15;  // converts from 0.1K to Celcius
}

void BQ769x2_ReadPassQ(){ // Read Accumulated Charge and Time from DASTATUS6
	Subcommands(DASTATUS6, 0x00, R);
	AccumulatedCharge_Int = ((RX_32Byte[3]<<24) + (RX_32Byte[2]<<16) + (RX_32Byte[1]<<8) + RX_32Byte[0]); //Bytes 0-3
	AccumulatedCharge_Frac = ((RX_32Byte[7]<<24) + (RX_32Byte[6]<<16) + (RX_32Byte[5]<<8) + RX_32Byte[4]); //Bytes 4-7
	AccumulatedCharge_Time = ((RX_32Byte[11]<<24) + (RX_32Byte[10]<<16) + (RX_32Byte[9]<<8) + RX_32Byte[8]); //Bytes 8-11
}

void BQ769x2_OTP_STATUS(){
    Subcommands(OTP_WR_CHECK, 0x00, R);
    OTP = ((uint64_t)RX_32Byte[7] << 56) | ((uint64_t)RX_32Byte[6] << 48) |
          ((uint64_t)RX_32Byte[5] << 40) | ((uint64_t)RX_32Byte[4] << 32) |
          ((uint64_t)RX_32Byte[3] << 24) | ((uint64_t)RX_32Byte[2] << 16) |
          ((uint64_t)RX_32Byte[1] << 8)  | RX_32Byte[0];
}

void BQ769x2_OTP_SCAN(){
	DirectCommands(BatteryStatus, 0x00, R);
	OTP_Status = (RX_data[1]*256 + RX_data[0]);
}

// ********************************* End of BQ769x2 Measurement Commands   *****************************************

/* USER CODE END PFP */

int main(void)
{

  /* USER CODE BEGIN 1 */
    volatile int i = 0;
//		char uart_buf[50];
//		int uart_buf_len;
  /* USER CODE END 1 */

  /* MCU Configuration--------------------------------------------------------*/

  /* Reset of all peripherals, Initializes the Flash interface and the Systick. */
  HAL_Init();

  /* Configure the system clock */
  SystemClock_Config();

  /* Initialize all configured peripherals */
  MX_GPIO_Init();
  MX_I2C2_Init();
  MX_USART2_UART_Init();
  MX_TIM1_Init();
  /* USER CODE BEGIN 2 */
	// Start timer
	HAL_TIM_Base_Start(&htim1);
	HAL_GPIO_WritePin(GPIOE, RST_SHUT_Pin, GPIO_PIN_RESET);  // RST_SHUT pin set low
	HAL_GPIO_WritePin(GPIOA, DFETOFF_Pin, GPIO_PIN_RESET);   // DFETOFF pin (BOTHOFF) set low
  delayUS(10000);

	CommandSubcommands(BQ769x2_RESET);  // Resets the BQ769x2 registers
	delayUS(60000);
	BQ769x2_Init();  // Configure all of the BQ769x2 register settings
	delayUS(10000);
	CommandSubcommands(FET_ENABLE); // Enable the CHG and DSG FETs
	delayUS(10000);
	CommandSubcommands(SLEEP_DISABLE); // Sleep mode is enabled by default. For this example, Sleep is disabled to
																		 // demonstrate full-speed measurements in Normal mode.
	delayUS(60000);
	delayUS(60000);
	delayUS(60000);
	delayUS(60000);  //wait to start measurements after FETs close

  /* USER CODE END 2 */

  /* Infinite loop */
  /* USER CODE BEGIN WHILE */

  while (1)
  {
		// Nháy LED LD2 để báo nạp code thành công
		for (int i = 0; i < 1; i++) {
				HAL_GPIO_WritePin(GPIOE, LD2_Pin, GPIO_PIN_SET);   // Bật LED
				HAL_Delay(500);                                    // Chờ 500ms
				HAL_GPIO_WritePin(GPIOE, LD2_Pin, GPIO_PIN_RESET); // Tắt LED
				HAL_Delay(500);                                    // Chờ 500ms
		}
    /* USER CODE END WHILE */
		BQ769x2_ReadAllVoltages();
	  Pack_Current = (int16_t)BQ769x2_ReadCurrent();
	  BQ769x2_ReadFETStatus();
	  statusread();
	  BQ769x2_ReadSafetyStatus();
	  BQ769x2_ReadPFStatus();
	  BQ769x2_OTP_STATUS();
	  BQ769x2_OTP_SCAN();

		control_status    = BQ769x2_ReadControlStatus();
    battery_status    = BQ769x2_ReadBatteryStatus();
    alarm_status_reg  = BQ769x2_ReadAlarmStatusReg();
    alarm_raw_status  = BQ769x2_ReadAlarmRawStatus();
    alarm_enable_mask = BQ769x2_ReadAlarmEnable();
		manufacturing_status = BQ769x2_ReadManufacturingStatus();

	  Temperature[0] = BQ769x2_ReadTemperature(TS1Temperature);
	  Temperature[1] = BQ769x2_ReadTemperature(TS2Temperature);
	  Temperature[2] = BQ769x2_ReadTemperature(TS3Temperature);
	  Temperature[3] = BQ769x2_ReadTemperature(HDQTemperature);
//	  Temperature[4] = BQ769x2_ReadTemperature(DCHGTemperature);
	  Temperature[5] = BQ769x2_ReadTemperature(CFETOFFTemperature);
	  Temperature[6] = BQ769x2_ReadTemperature(IntTemperature);
	  HAL_Delay(200);
  }
}

void SystemClock_Config(void)
{
  RCC_OscInitTypeDef RCC_OscInitStruct = {0};
  RCC_ClkInitTypeDef RCC_ClkInitStruct = {0};

  /** Initializes the RCC Oscillators according to the specified parameters
  * in the RCC_OscInitTypeDef structure.
  */
  RCC_OscInitStruct.OscillatorType = RCC_OSCILLATORTYPE_HSE;
  RCC_OscInitStruct.HSEState = RCC_HSE_ON;
  RCC_OscInitStruct.HSEPredivValue = RCC_HSE_PREDIV_DIV1;
  RCC_OscInitStruct.HSIState = RCC_HSI_ON;
  RCC_OscInitStruct.PLL.PLLState = RCC_PLL_ON;
  RCC_OscInitStruct.PLL.PLLSource = RCC_PLLSOURCE_HSE;
  RCC_OscInitStruct.PLL.PLLMUL = RCC_PLL_MUL8;
  if (HAL_RCC_OscConfig(&RCC_OscInitStruct) != HAL_OK)
  {
    Error_Handler();
  }

  /** Initializes the CPU, AHB and APB buses clocks
  */
  RCC_ClkInitStruct.ClockType = RCC_CLOCKTYPE_HCLK|RCC_CLOCKTYPE_SYSCLK
                              |RCC_CLOCKTYPE_PCLK1|RCC_CLOCKTYPE_PCLK2;
  RCC_ClkInitStruct.SYSCLKSource = RCC_SYSCLKSOURCE_PLLCLK;
  RCC_ClkInitStruct.AHBCLKDivider = RCC_SYSCLK_DIV1;
  RCC_ClkInitStruct.APB1CLKDivider = RCC_HCLK_DIV2;
  RCC_ClkInitStruct.APB2CLKDivider = RCC_HCLK_DIV1;

  if (HAL_RCC_ClockConfig(&RCC_ClkInitStruct, FLASH_LATENCY_2) != HAL_OK)
  {
    Error_Handler();
  }
}

static void MX_I2C2_Init(void)
{

  hi2c2.Instance = I2C2;
  hi2c2.Init.ClockSpeed = 100000;
  hi2c2.Init.DutyCycle = I2C_DUTYCYCLE_2;
  hi2c2.Init.OwnAddress1 = 0;
  hi2c2.Init.AddressingMode = I2C_ADDRESSINGMODE_7BIT;
  hi2c2.Init.DualAddressMode = I2C_DUALADDRESS_DISABLE;
  hi2c2.Init.OwnAddress2 = 0;
  hi2c2.Init.GeneralCallMode = I2C_GENERALCALL_DISABLE;
  hi2c2.Init.NoStretchMode = I2C_NOSTRETCH_DISABLE;
  if (HAL_I2C_Init(&hi2c2) != HAL_OK)
  {
    Error_Handler();
  }

}

static void MX_TIM1_Init(void)
{

  TIM_ClockConfigTypeDef sClockSourceConfig = {0};
  TIM_MasterConfigTypeDef sMasterConfig = {0};

  htim1.Instance = TIM1;
  htim1.Init.Prescaler = 63;
  htim1.Init.CounterMode = TIM_COUNTERMODE_UP;
  htim1.Init.Period = 65535;
  htim1.Init.ClockDivision = TIM_CLOCKDIVISION_DIV1;
  htim1.Init.RepetitionCounter = 0;
  htim1.Init.AutoReloadPreload = TIM_AUTORELOAD_PRELOAD_DISABLE;
  if (HAL_TIM_Base_Init(&htim1) != HAL_OK)
  {
    Error_Handler();
  }
  sClockSourceConfig.ClockSource = TIM_CLOCKSOURCE_INTERNAL;
  if (HAL_TIM_ConfigClockSource(&htim1, &sClockSourceConfig) != HAL_OK)
  {
    Error_Handler();
  }
  sMasterConfig.MasterOutputTrigger = TIM_TRGO_RESET;
  sMasterConfig.MasterSlaveMode = TIM_MASTERSLAVEMODE_DISABLE;
  if (HAL_TIMEx_MasterConfigSynchronization(&htim1, &sMasterConfig) != HAL_OK)
  {
    Error_Handler();
  }

}

static void MX_USART2_UART_Init(void)
{

  huart2.Instance = USART2;
  huart2.Init.BaudRate = 115200;
  huart2.Init.WordLength = UART_WORDLENGTH_8B;
  huart2.Init.StopBits = UART_STOPBITS_1;
  huart2.Init.Parity = UART_PARITY_NONE;
  huart2.Init.Mode = UART_MODE_TX_RX;
  huart2.Init.HwFlowCtl = UART_HWCONTROL_NONE;
  huart2.Init.OverSampling = UART_OVERSAMPLING_16;
  if (HAL_UART_Init(&huart2) != HAL_OK)
  {
    Error_Handler();
  }

}

static void MX_GPIO_Init(void)
{
  GPIO_InitTypeDef GPIO_InitStruct = {0};

  /* GPIO Ports Clock Enable */
  __HAL_RCC_GPIOE_CLK_ENABLE();
  __HAL_RCC_GPIOC_CLK_ENABLE();
  __HAL_RCC_GPIOA_CLK_ENABLE();
  __HAL_RCC_GPIOB_CLK_ENABLE();
  __HAL_RCC_GPIOD_CLK_ENABLE();

  /*Configure GPIO pin Output Level */
  HAL_GPIO_WritePin(GPIOE, RST_SHUT_Pin|LD2_Pin, GPIO_PIN_RESET);

  /*Configure GPIO pin Output Level */
  HAL_GPIO_WritePin(DFETOFF_GPIO_Port, DFETOFF_Pin, GPIO_PIN_RESET);

  /*Configure GPIO pins : RST_SHUT_Pin LD2_Pin */
  GPIO_InitStruct.Pin = RST_SHUT_Pin|LD2_Pin;
  GPIO_InitStruct.Mode = GPIO_MODE_OUTPUT_PP;
  GPIO_InitStruct.Pull = GPIO_NOPULL;
  GPIO_InitStruct.Speed = GPIO_SPEED_FREQ_LOW;
  HAL_GPIO_Init(GPIOE, &GPIO_InitStruct);

  /*Configure GPIO pins : DDSG_Pin DCHG_Pin */
  GPIO_InitStruct.Pin = DDSG_Pin|DCHG_Pin;
  GPIO_InitStruct.Mode = GPIO_MODE_INPUT;
  GPIO_InitStruct.Pull = GPIO_NOPULL;
  HAL_GPIO_Init(GPIOC, &GPIO_InitStruct);

  /*Configure GPIO pin : DFETOFF_Pin */
  GPIO_InitStruct.Pin = DFETOFF_Pin;
  GPIO_InitStruct.Mode = GPIO_MODE_OUTPUT_PP;
  GPIO_InitStruct.Pull = GPIO_NOPULL;
  GPIO_InitStruct.Speed = GPIO_SPEED_FREQ_LOW;
  HAL_GPIO_Init(DFETOFF_GPIO_Port, &GPIO_InitStruct);

  /*Configure GPIO pin : ALERT_Pin */
  GPIO_InitStruct.Pin = ALERT_Pin;
  GPIO_InitStruct.Mode = GPIO_MODE_IT_RISING;
  GPIO_InitStruct.Pull = GPIO_NOPULL;
  HAL_GPIO_Init(ALERT_GPIO_Port, &GPIO_InitStruct);

}

void Error_Handler(void)
{
  __disable_irq();
  while (1)
  {
  }
}
